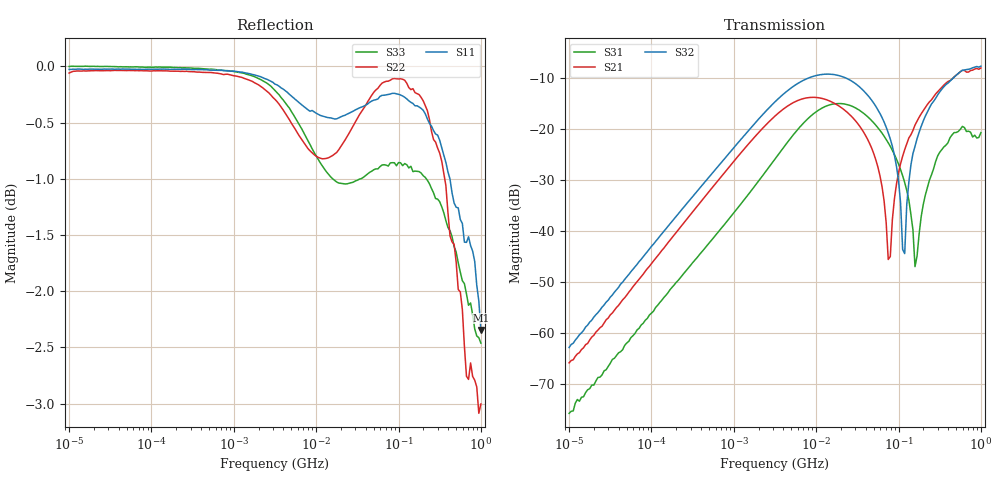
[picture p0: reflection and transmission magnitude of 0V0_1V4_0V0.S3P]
!Keysight Technologies,E5080A,MY55100144,A.11.70.03
!Date: Monday, November 13, 2017 17:24:11
!Correction: S11(Full 3 Port(1,2,3))
!S12(Full 3 Port(1,2,3))
!S13(Full 3 Port(1,2,3))
!S21(Full 3 Port(1,2,3))
!S22(Full 3 Port(1,2,3))
!S23(Full 3 Port(1,2,3))
!S31(Full 3 Port(1,2,3))
!S32(Full 3 Port(1,2,3))
!S33(Full 3 Port(1,2,3))
!S3P File: Measurements: <S11,S12,S13>,
!<S21,S22,S23>,
!<S31,S32,S33>:Log Frequency Sweep
# Hz S  RI  R 50
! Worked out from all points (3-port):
!   201 points, 10 kHz to 1 GHz, reference 50 ohm
!   strongest paths, dB at 10 kHz, 177.8 kHz, 3.162 MHz, 56.23 MHz, 1 GHz:
!     S32: -62.8, -38.1, -14.7, -16.2, -7.7
!     S21: -65.8, -41.3, -17.4, -27.5, -8.0
!     S31: -75.7, -51.0, -25.9, -19.8, -20.7
!   lowest |S11| = -2.3 dB at 1 GHz (marker M1), VSWR 7.46, Z = 373 + j10.7 ohm
!   |S11| at or under -10 dB: nowhere
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10000  0.9968 -0.00201  -1.91e-05 0.000485  6.19e-06 0.000155
       9.48e-05 0.000502  0.9931 -0.00383  -2.05e-06 0.000719
       6.01e-06 0.000164  1.85e-05 0.000723  0.9998 -0.00243
3162278  0.8125 -0.5513  0.084 0.1005  0.0103 0.0502
         0.0873 0.102  0.6138 -0.7468  0.1019 0.1542
         0.0105 0.0499  0.102 0.1544  0.9356 -0.2762
2.371374e7  -0.6558 -0.6904  0.1115 -0.0938  0.1692 -0.0411
            0.1116 -0.095  -0.8071 -0.463  0.2775 -0.1442
            0.1689 -0.0413  0.2777 -0.1442  0.0474 -0.8854
5.623413e7  -0.9431 -0.2142  0.0142 -0.0397  0.0502 -0.0899
            0.0142 -0.0398  -0.9772 -0.0343  0.059 -0.1426
            0.05 -0.0899  0.0589 -0.1425  -0.6628 -0.6093
7.498942e7  -0.9695 -0.064  0.00401 -0.00343  0.0205 -0.0704
            0.00398 -0.00345  -0.9772 0.123  0.017 -0.0904
            0.0204 -0.0705  0.0169 -0.0904  -0.7987 -0.421
8.413951e7  -0.9727 -0.00548  0.00396 0.0125  0.0122 -0.0607
            0.00391 0.0123  -0.9693 0.1873  0.00715 -0.0675
            0.0122 -0.0607  0.00716 -0.0675  -0.8394 -0.3411
1.188502e8  -0.9527 0.1757  0.019 0.06  0.00025 -0.0299
            0.0191 0.06  -0.903 0.3956  0.00178 0.00578
            0.000263 -0.0299  0.00179 0.00575  -0.8999 -0.0978
1.584893e8  -0.8991 0.3374  0.0502 0.0975  0.00221 -0.00388
            0.0501 0.0974  -0.7886 0.5706  0.0288 0.0613
            0.00223 -0.0039  0.0287 0.0613  -0.8919 0.1067
3.758374e8  -0.3947 0.8158  0.2783 0.0435  0.0692 -0.00574
            0.2785 0.0434  0.0733 0.8819  0.2661 0.0617
            0.0692 -0.00579  0.2658 0.0617  -0.506 0.6878
1e9  0.7635 0.00601  -0.0951 -0.3856  -0.0566 -0.0725
     -0.0956 -0.3855  0.5911 -0.3892  -0.0451 -0.4114
     -0.0567 -0.0728  -0.0447 -0.4114  0.6866 0.3097
